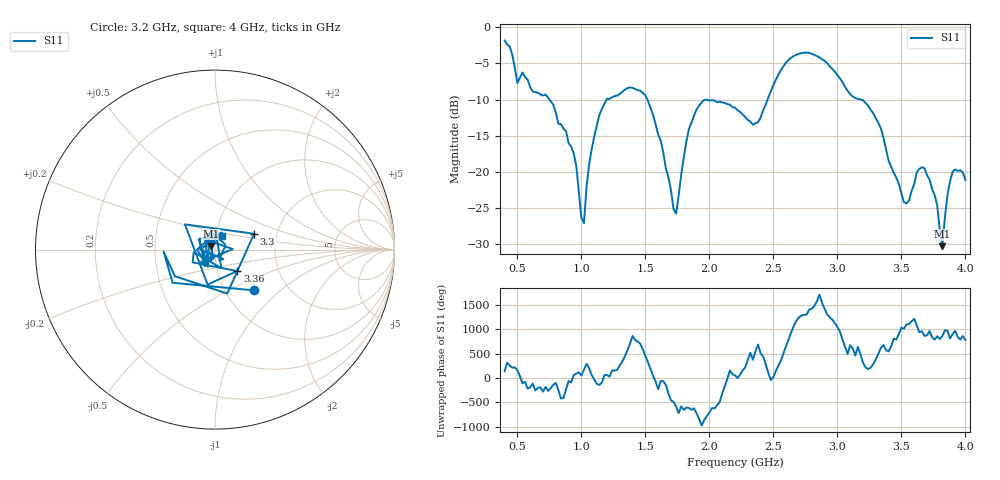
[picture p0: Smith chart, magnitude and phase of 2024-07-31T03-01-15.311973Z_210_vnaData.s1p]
!Created with skrf (http://scikit-rf.org).
# Hz S RI R 50.0
!freq ReS11 ImS11
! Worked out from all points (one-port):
!   181 points, 400 MHz to 4 GHz, reference 50 ohm
!   lowest |S11| = -30.2 dB at 3.82 GHz (marker M1), VSWR 1.06, Z = 47.6 + j1.86 ohm
!   |S11| at or under -10 dB: 750.9 MHz to 1.197 GHz (446.1 MHz wide, 45.8 % of centre); 1.515 GHz to 2.455 GHz (939.5 MHz wide, 47.3 % of centre); 3.183 GHz to end of sweep
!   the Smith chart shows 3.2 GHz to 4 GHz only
!   S11 on the Smith chart (normalised r, x): 3.2 GHz: 1.35, -0.68; 3.3 GHz: 1.52, +0.29; 3.36 GHz: 1.24, -0.31; 4 GHz: 1.07, +0.17
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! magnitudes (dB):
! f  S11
! 400 MHz  -1.8
! 500 MHz  -7.7
! 720 MHz  -9.3
! 860 MHz  -14.0
! 940 MHz  -17.4
! 1.02 GHz  -27.1
! 1.06 GHz  -19.0
! 1.14 GHz  -12.1
! 1.3 GHz  -9.2
! 1.5 GHz  -9.4
! 1.62 GHz  -15.7
! 1.72 GHz  -25.1
! 1.76 GHz  -23.2
! 1.84 GHz  -14.1
! 1.9 GHz  -11.4
! 2.2 GHz  -11.1
! 2.38 GHz  -13.1
! 2.66 GHz  -4.0
! 3.1 GHz  -9.3
! 3.2 GHz  -10.1
! 3.3 GHz  -12.6
! 3.36 GHz  -15.3
! 3.56 GHz  -24.0
! 3.68 GHz  -19.5
! 3.78 GHz  -24.6
! 3.82 GHz  -30.2
! 3.9 GHz  -20.0
! 4 GHz  -21.1
